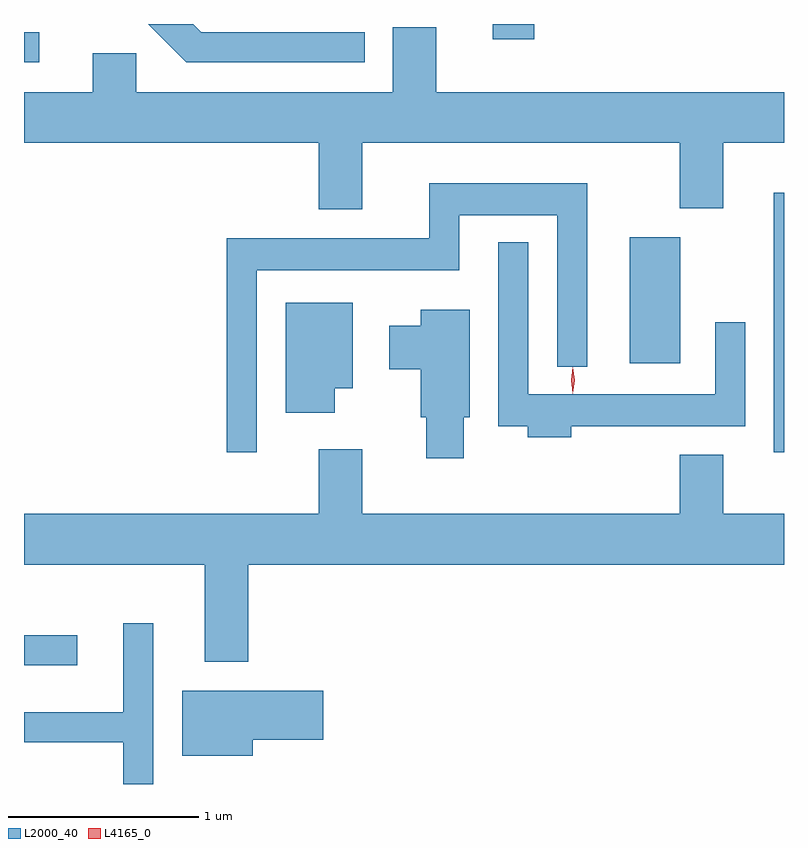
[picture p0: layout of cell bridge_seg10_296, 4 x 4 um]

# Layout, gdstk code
import gdstk
lib = gdstk.Library(unit=1e-6, precision=1e-09)
def R(c, l, rs):  # rectangles x0, y0, x1, y1
    for r in rs: c.add(gdstk.rectangle(r[:2], r[2:], *l))
def P(c, l, *ps):  # polygons
    for p in ps: c.add(gdstk.Polygon(p, *l))
L2000_40 = (2000, 40)
L4165_0 = (4165, 0)

bridge_seg10_296 = lib.new_cell('bridge_seg10_296')
R(bridge_seg10_296, L2000_40, [(1416.419,2213.286,1416.698,2213.444), (1420.366,2214.408,1420.419,2215.774), (1419.606,2214.876,1419.874,2215.539), (1416.419,2216.461,1416.498,2216.619), (1418.886,2216.581,1419.104,2216.662)])
P(bridge_seg10_296, L2000_40, [(1418.213,2216.619),(1417.352,2216.619),(1417.309,2216.662),(1416.668,2216.662),(1416.669,2216.661),(1417.074,2216.661),(1417.274,2216.461),(1418.213,2216.461)],
  [(1418.199,2216.036),(1419.871,2216.036),(1419.871,2215.691),(1420.099,2215.691),(1420.099,2216.036),(1420.419,2216.036),(1420.419,2216.304),(1418.589,2216.304),(1418.589,2216.644),(1418.361,2216.644),(1418.361,2216.304),(1417.009,2216.304),(1417.009,2216.509),(1416.781,2216.509),(1416.781,2216.304),(1416.419,2216.304),(1416.419,2216.036),(1417.971,2216.036),(1417.971,2215.686),(1418.199,2215.686)],
  [(1417.644,2215.366),(1418.709,2215.366),(1418.709,2215.656),(1419.226,2215.656),(1419.226,2214.858),(1419.384,2214.858),(1419.384,2215.824),(1418.551,2215.824),(1418.551,2215.534),(1417.486,2215.534),(1417.486,2214.408),(1417.644,2214.408)],
  [(1419.299,2214.546),(1420.214,2214.546),(1420.214,2215.093),(1420.056,2215.093),(1420.056,2214.714),(1419.074,2214.714),(1419.074,2215.513),(1418.916,2215.513),(1418.916,2214.546),(1419.071,2214.546),(1419.071,2214.486),(1419.299,2214.486)],
  [(1418.054,2214.746),(1418.149,2214.746),(1418.149,2215.194),(1417.796,2215.194),(1417.796,2214.616),(1418.054,2214.616)],
  [(1418.734,2214.591),(1418.764,2214.591),(1418.764,2215.159),(1418.506,2215.159),(1418.506,2215.074),(1418.341,2215.074),(1418.341,2214.846),(1418.506,2214.846),(1418.506,2214.591),(1418.536,2214.591),(1418.536,2214.376),(1418.734,2214.376)],
  [(1417.599,2213.816),(1420.419,2213.816),(1420.419,2214.084),(1420.099,2214.084),(1420.099,2214.394),(1419.871,2214.394),(1419.871,2214.084),(1418.199,2214.084),(1418.199,2214.424),(1417.971,2214.424),(1417.971,2214.084),(1416.419,2214.084),(1416.419,2213.816),(1417.371,2213.816),(1417.371,2213.306),(1417.599,2213.306)],
  [(1417.099,2213.508),(1416.941,2213.508),(1416.941,2213.039),(1416.419,2213.039),(1416.419,2212.881),(1416.941,2212.881),(1416.941,2212.662),(1417.099,2212.662)],
  [(1417.624,2212.896),(1417.994,2212.896),(1417.994,2213.154),(1417.251,2213.154),(1417.251,2212.811),(1417.624,2212.811)])
P(bridge_seg10_296, L4165_0, [(1419.308,2214.717),(1419.307,2214.718),(1419.298,2214.787),(1419.307,2214.856),(1419.308,2214.856),(1419.308,2214.856),(1419.318,2214.787),(1419.308,2214.718)])

lib.write_gds('bridge_seg10_296.gds')
